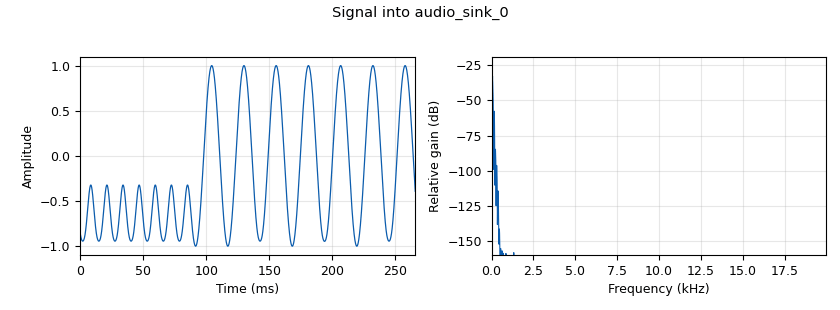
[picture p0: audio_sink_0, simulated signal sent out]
options:
  parameters:
    author: Barry Duggan
    description: packet FSK xmt
    generate_options: qt_gui
    id: pkt_fsk_xmt
    output_language: python
    title: pkt_fsk_xmt
  states: {}

blocks:
- name: baud_bit
  id: variable
  parameters:
    value: '19200'
  states: {}
- name: fsk_dev
  id: variable
  parameters:
    value: '4800'
  states: {}
- name: samp_rate
  id: variable
  parameters:
    value: '40000'
  states: {}
- name: sensitivity
  id: variable
  parameters:
    value: 2*3.14159*(fsk_dev/(baud_bit*spsym))
  states: {}
- name: spsym
  id: variable
  parameters:
    value: '256'
  states: {}
- name: variable_repetition_decoder_def_0
  id: variable_repetition_decoder_def
  parameters:
    framebits: '2048'
    ndim: '0'
    prob: '0.5'
    rep: '3'
  states: {}
- name: variable_repetition_encoder_def_0
  id: variable_repetition_encoder_def
  parameters:
    framebits: '2048'
    ndim: '0'
    rep: '3'
  states: {}
- name: audio_sink_0
  id: audio_sink
  parameters:
    ok_to_block: 'False'
    samp_rate: samp_rate
  states: {}
- name: audio_source_0
  id: audio_source
  parameters:
    samp_rate: samp_rate
  states: {}
- name: blocks_complex_to_float_0
  id: blocks_complex_to_float
  parameters: {}
  states: {}
- name: blocks_float_to_complex_0
  id: blocks_float_to_complex
  parameters: {}
  states: {}
- name: blocks_message_debug_0
  id: blocks_message_debug
  parameters: {}
  states: {}
- name: blocks_message_strobe_0
  id: blocks_message_strobe
  parameters:
    msg: ' pmt.cons(pmt.PMT_NIL, pmt.init_u8vector(10, (1,2,3,4,5,6,7,8,9,10)))'
    period: '100'
  states: {}
- name: blocks_multiply_const_vxx_0
  id: blocks_multiply_const_vxx
  parameters:
    const: '1'
    type: float
  states: {}
- name: blocks_pdu_to_tagged_stream_0
  id: blocks_pdu_to_tagged_stream
  parameters:
    tag: packet_len
    type: byte
  states: {}
- name: blocks_repack_bits_bb_1
  id: blocks_repack_bits_bb
  parameters:
    endianness: gr.GR_MSB_FIRST
    k: '1'
    l: '8'
    len_tag_key: '"packet_len"'
  states: {}
- name: blocks_tagged_stream_to_pdu_0
  id: blocks_tagged_stream_to_pdu
  parameters:
    tag: packet_len
    type: byte
  states: {}
- name: blocks_uchar_to_float_0
  id: blocks_uchar_to_float
  parameters: {}
  states: {}
- name: blocks_uchar_to_float_0_0
  id: blocks_uchar_to_float
  parameters: {}
  states: {}
- name: blocks_unpack_k_bits_bb_0
  id: blocks_unpack_k_bits_bb
  parameters:
    k: '8'
  states: {}
- name: digital_correlate_access_code_xx_ts_0
  id: digital_correlate_access_code_xx_ts
  parameters:
    access_code: '"11111111000000001111111100000000"'
    tagname: packet_len
    threshold: '1'
    type: byte
  states: {}
- name: digital_crc32_async_bb_0_0
  id: digital_crc32_async_bb
  parameters:
    check: 'True'
  states: {state: bypassed}
- name: digital_crc32_async_bb_1
  id: digital_crc32_async_bb
  parameters:
    check: 'False'
  states: {state: bypassed}
- name: digital_gfsk_demod_0
  id: digital_gfsk_demod
  parameters:
    freq_error: '0.0'
    gain_mu: '0.175'
    mu: '0.5'
    omega_relative_limit: '0.005'
    samples_per_symbol: spsym
    sensitivity: sensitivity
  states: {}
- name: digital_gfsk_mod_0
  id: digital_gfsk_mod
  parameters:
    bt: '0.5'
    samples_per_symbol: spsym
    sensitivity: sensitivity
  states: {}
- name: epy_block_0
  id: epy_block
  parameters:
    _source_code: |
      """
      Embedded Python Block
      """

      import numpy as np
      from gnuradio import gr
      import pmt

      class blk(gr.sync_block):
          """Packet Format"""

          def __init__(self):
              gr.sync_block.__init__(self,
                  name = "Packet Format",
                  in_sig = None,
                  out_sig = None)
              self.message_port_register_in(pmt.intern('PDU_in'))
              self.message_port_register_out(pmt.intern('PDU_out'))
              self.set_msg_handler(pmt.intern('PDU_in'), self.handle_msg)

          def handle_msg(self, msg):
              inMsg = pmt.to_python (msg)
              pld = inMsg[1]
              # print (pld)
              mLen = len(pld)
              # print (mLen)
              if (mLen > 0):
                  # 10 preamble bytes, 4 access code bytes
                  char_list = [85,85,85,85,85,85,85,85,85,85,255,0,255,0]
                  char_list.append (mLen >> 8)
                  char_list.append (mLen & 255)
                  char_list.append (mLen >> 8)
                  char_list.append (mLen & 255)
                  char_list.extend (pld)
                  # print (char_list)
                  out_len = len(char_list)
                  # print (out_len)
                  self.message_port_pub(pmt.intern('PDU_out'), pmt.cons(pmt.PMT_NIL,pmt.init_u8vector(out_len,(char_list))))
  states: {}
- name: epy_block_1
  id: epy_block
  parameters:
    _source_code: "\"\"\"\nEmbedded Python Blocks:\n\nEach time this file is saved, GRC will instantiate the first class it finds\nto get ports and parameters of your block. The arguments to __init__  will\nbe the parameters. All of them are required to have default values!\n\"\"\"\n\nimport numpy as np\nfrom gnuradio import gr\n\nimport pmt\n\n\nclass blk(gr.sync_block):  # other base classes are basic_block, decim_block, interp_block\n    \"\"\"Embedded Python Block example - a simple multiply const\"\"\"\n\n    def __init__(self):  # only default arguments here\n        \"\"\"arguments to this function show up as parameters in GRC\"\"\"\n        gr.sync_block.__init__(\n            self,\n            name='Message Parser',   # will show up in GRC\n            in_sig=None,\n            out_sig=None,\n        )\n        # if an attribute with the same name as a parameter is found,\n        # a callback is registered (properties work, too).\n        self.message_port_register_in(pmt.intern('MSG_in'))\n        self.message_port_register_out(pmt.intern('PDU_out'))\n        self.set_msg_handler(pmt.intern('MSG_in'), self.handle_msg)\n\n    def handle_msg(self, msg):\n        inMsg = pmt.to_python(msg)\n        outMsg = inMsg\n        \n        #outMsg = \"hello\"\n        #outMsgChr = [ord(x) for x in outMsg]\n        \n        self.message_port_pub(pmt.intern('PDU_out'), pmt.cons(pmt.PMT_NIL,pmt.init_u8vector(1, outMsg)))\n\n        \n        \n"
  states: {state: disabled}
- name: epy_block_1_0
  id: epy_block
  parameters:
    _source_code: "\"\"\"\nEmbedded Python Blocks:\n\nEach time this file is saved, GRC will instantiate the first class it finds\nto get ports and parameters of your block. The arguments to __init__  will\nbe the parameters. All of them are required to have default values!\n\"\"\"\n\nimport numpy as np\nfrom gnuradio import gr\n\nimport pmt\n\n\nclass blk(gr.sync_block):  # other base classes are basic_block, decim_block, interp_block\n    \"\"\"Embedded Python Block example - a simple multiply const\"\"\"\n\n    def __init__(self):  # only default arguments here\n        \"\"\"arguments to this function show up as parameters in GRC\"\"\"\n        gr.sync_block.__init__(\n            self,\n            name='Message Parser',   # will show up in GRC\n            in_sig=None,\n            out_sig=None,\n        )\n        # if an attribute with the same name as a parameter is found,\n        # a callback is registered (properties work, too).\n        self.message_port_register_in(pmt.intern('PDU_in'))\n        self.message_port_register_out(pmt.intern('MSG_out'))\n        self.set_msg_handler(pmt.intern('PDU_in'), self.handle_msg)\n\n    def handle_msg(self, msg):\n        inMsg = pmt.to_python(msg)\n        recv_chr = inMsg[1][0]\n\t\n        if (recv_chr != 0xFF):\n            self.message_port_pub(pmt.intern('MSG_out'), pmt.to_pmt(int(inMsg[1][0])))\n\n        \n        \n"
  states: {}
- name: fec_async_decoder_0
  id: fec_async_decoder
  parameters:
    decoder: variable_repetition_decoder_def_0
    mtu: '1500'
  states: {state: bypassed}
- name: fec_async_encoder_0
  id: fec_async_encoder
  parameters:
    encoder: variable_repetition_encoder_def_0
    mtu: '1500'
  states: {state: bypassed}
- name: qtgui_freq_sink_x_0
  id: qtgui_freq_sink_x
  parameters:
    bw: samp_rate
    fc: '0'
    fftsize: '1024'
    nconnections: '2'
    type: float
  states: {}
- name: qtgui_time_sink_x_0_0
  id: qtgui_time_sink_x
  parameters:
    ctrlpanel: 'True'
    nconnections: '2'
    size: '1024'
    srate: samp_rate
    stemplot: 'True'
    type: float
  states: {}
- name: qtgui_time_sink_x_2
  id: qtgui_time_sink_x
  parameters:
    ctrlpanel: 'True'
    marker1: '0'
    marker2: '1'
    nconnections: '2'
    size: '100'
    srate: samp_rate
    stemplot: 'True'
    type: float
  states: {}
- name: zeromq_pub_msg_sink_0
  id: zeromq_pub_msg_sink
  parameters:
    address: tcp://127.0.0.1:55555
    timeout: '100'
  states: {}
- name: zeromq_sub_msg_source_0
  id: zeromq_sub_msg_source
  parameters:
    address: tcp://127.0.0.1:55557
    timeout: '100'
  states: {state: disabled}

connections:
- [audio_source_0, '0', blocks_float_to_complex_0, '0']
- [audio_source_0, '0', qtgui_freq_sink_x_0, '1']
- [audio_source_0, '0', qtgui_time_sink_x_0_0, '1']
- [blocks_complex_to_float_0, '0', audio_sink_0, '0']
- [blocks_complex_to_float_0, '0', qtgui_freq_sink_x_0, '0']
- [blocks_complex_to_float_0, '0', qtgui_time_sink_x_0_0, '0']
- [blocks_float_to_complex_0, '0', digital_gfsk_demod_0, '0']
- [blocks_message_strobe_0, strobe, digital_crc32_async_bb_1, in]
- [blocks_multiply_const_vxx_0, '0', qtgui_time_sink_x_2, '0']
- [blocks_pdu_to_tagged_stream_0, '0', blocks_unpack_k_bits_bb_0, '0']
- [blocks_pdu_to_tagged_stream_0, '0', digital_gfsk_mod_0, '0']
- [blocks_repack_bits_bb_1, '0', blocks_tagged_stream_to_pdu_0, '0']
- [blocks_tagged_stream_to_pdu_0, pdus, fec_async_decoder_0, in]
- [blocks_uchar_to_float_0, '0', qtgui_time_sink_x_2, '1']
- [blocks_uchar_to_float_0_0, '0', blocks_multiply_const_vxx_0, '0']
- [blocks_unpack_k_bits_bb_0, '0', blocks_uchar_to_float_0_0, '0']
- [digital_correlate_access_code_xx_ts_0, '0', blocks_repack_bits_bb_1, '0']
- [digital_crc32_async_bb_0_0, out, epy_block_1_0, PDU_in]
- [digital_crc32_async_bb_1, out, epy_block_0, PDU_in]
- [digital_gfsk_demod_0, '0', blocks_uchar_to_float_0, '0']
- [digital_gfsk_demod_0, '0', digital_correlate_access_code_xx_ts_0, '0']
- [digital_gfsk_mod_0, '0', blocks_complex_to_float_0, '0']
- [epy_block_0, PDU_out, fec_async_encoder_0, in]
- [epy_block_1, PDU_out, digital_crc32_async_bb_1, in]
- [epy_block_1_0, MSG_out, blocks_message_debug_0, print]
- [epy_block_1_0, MSG_out, zeromq_pub_msg_sink_0, in]
- [fec_async_decoder_0, out, digital_crc32_async_bb_0_0, in]
- [fec_async_encoder_0, out, blocks_pdu_to_tagged_stream_0, pdus]
- [zeromq_sub_msg_source_0, out, epy_block_1, MSG_in]

metadata:
  file_format: 1
  grc_version: 3.9.7.0
